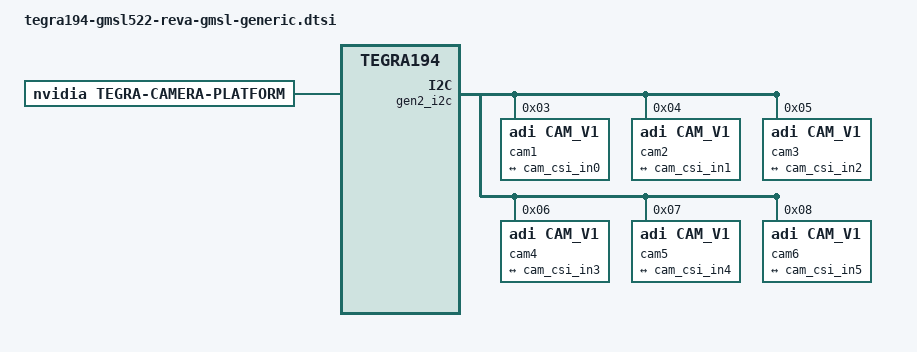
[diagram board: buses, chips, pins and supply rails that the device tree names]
#include <dt-bindings/media/camera.h>

/ {
	tegra-capture-vi  {
		num-channels = <6>;
		ports {
			#address-cells = <1>;
			#size-cells = <0>;
			port@0 {
				reg = <0>;
				cam_vi_in0: endpoint {
					vc-id = <0>;
					port-index = <0>;
					bus-width = <4>;
					remote-endpoint = <&cam_csi_out0>;
				};
			};
			port@1 {
				reg = <1>;
				cam_vi_in1: endpoint {
					vc-id = <0>;
					port-index = <2>;
					bus-width = <4>;
					remote-endpoint = <&cam_csi_out1>;
				};
			};
			port@2 {
				reg = <2>;
				cam_vi_in2: endpoint {
					vc-id = <0>;
					port-index = <4>;
					bus-width = <4>;
					remote-endpoint = <&cam_csi_out2>;
				};
			};
			port@3 {
				reg = <3>;
				cam_vi_in3: endpoint {
					vc-id = <1>;
					port-index = <4>;
					bus-width = <4>;
					remote-endpoint = <&cam_csi_out3>;
				};
			};
			port@4 {
				reg = <4>;
				cam_vi_in4: endpoint {
					vc-id = <2>;
					port-index = <4>;
					bus-width = <4>;
					remote-endpoint = <&cam_csi_out4>;
				};
			};
			port@5 {
				reg = <5>;
				cam_vi_in5: endpoint {
					vc-id = <3>;
					port-index = <4>;
					bus-width = <4>;
					remote-endpoint = <&cam_csi_out5>;
				};
			};
		};
	};

	host1x@13e00000 {
		nvcsi@15a00000 {
			num-channels = <6>;
			#address-cells = <1>;
			#size-cells = <0>;
			channel@0 {
				reg = <0>;
				ports {
					#address-cells = <1>;
					#size-cells = <0>;
					port@0 {
						reg = <0>;
						cam_csi_in0: endpoint@0 {
							port-index = <0>;
							bus-width = <4>;
							remote-endpoint = <&cam_out0>;
						};
					};
					port@1 {
						reg = <1>;
						cam_csi_out0: endpoint@1 {
							remote-endpoint = <&cam_vi_in0>;
						};
					};
				};
			};
			channel@1 {
				reg = <1>;
				ports {
					#address-cells = <1>;
					#size-cells = <0>;
					port@0 {
						reg = <0>;
						cam_csi_in1: endpoint@2 {
							port-index = <2>;
							bus-width = <4>;
							remote-endpoint = <&cam_out1>;
						};
					};
					port@1 {
						reg = <1>;
						cam_csi_out1: endpoint@3 {
							remote-endpoint = <&cam_vi_in1>;
						};
					};
				};
			};
			channel@2 {
				reg = <2>;
				ports {
					#address-cells = <1>;
					#size-cells = <0>;
					port@0 {
						reg = <0>;
						cam_csi_in2: endpoint@4 {
							port-index = <4>;
							bus-width = <4>;
							remote-endpoint = <&cam_out2>;
						};
					};
					port@1 {
						reg = <1>;
						cam_csi_out2: endpoint@5 {
							remote-endpoint = <&cam_vi_in2>;
						};
					};
				};
			};
			channel@3 {
				reg = <3>;
				ports {
					#address-cells = <1>;
					#size-cells = <0>;
					port@0 {
						reg = <0>;
						cam_csi_in3: endpoint@6 {
							port-index = <4>;
							bus-width = <4>;
							remote-endpoint = <&cam_out3>;
						};
					};
					port@1 {
						reg = <1>;
						cam_csi_out3: endpoint@7 {
							remote-endpoint = <&cam_vi_in3>;
						};
					};
				};
			};
			channel@4 {
				reg = <4>;
				ports {
					#address-cells = <1>;
					#size-cells = <0>;
					port@0 {
						reg = <0>;
						cam_csi_in4: endpoint@8 {
							port-index = <4>;
							bus-width = <4>;
							remote-endpoint = <&cam_out4>;
						};
					};
					port@1 {
						reg = <1>;
						cam_csi_out4: endpoint@9 {
							remote-endpoint = <&cam_vi_in4>;
						};
					};
				};
			};
			channel@5 {
				reg = <5>;
				ports {
					#address-cells = <1>;
					#size-cells = <0>;
					port@0 {
						reg = <0>;
						cam_csi_in5: endpoint@10 {
							port-index = <4>;
							bus-width = <4>;
							remote-endpoint = <&cam_out5>;
						};
					};
					port@1 {
						reg = <1>;
						cam_csi_out5: endpoint@11 {
							remote-endpoint = <&cam_vi_in5>;
						};
					};
				};
			};
		};
	};
};

&gen2_i2c {
	cam1: cam1@3 {
		compatible = "adi,cam_v1";
		/* I2C device address */
		reg = <0x3>;

		mode0 {
			num_lanes = "4";
			tegra_sinterface = "serial_e";
			deskew_initial_enable = "false";
			phy_mode = "DPHY";

			active_w = "1920";
			active_h = "1280";
			mode_type = "yuv";
			pixel_phase = "yuyv";
			csi_pixel_bit_depth = "16";
			line_length = "1920";
			pix_clk_hz = "0"; /* Do not update */

			serdes_lane_rate = "1500000000";

			min_framerate = "1000000"; /* 2.0 fps */
			max_framerate = "90000000"; /* 90.0 fps */
			step_framerate = "1";
			default_framerate = "30000000"; /* 30.0 fps */

			embedded_metadata_height = "0";
		};

		ports {
			#address-cells = <1>;
			#size-cells = <0>;

			port@0 {
				reg = <0>;
				cam_out0: endpoint {
					port-index = <0>;
					bus-width = <4>;
					remote-endpoint = <&cam_csi_in0>;
				};
			};
		};
	};
	cam2: cam2@4 {
		compatible = "adi,cam_v1";
		/* I2C device address */
		reg = <0x4>;

		mode0 {
			num_lanes = "4";
			tegra_sinterface = "serial_e";
			deskew_initial_enable = "false";
			phy_mode = "DPHY";

			active_w = "1920";
			active_h = "1280";
			mode_type = "yuv";
			pixel_phase = "yuyv";
			csi_pixel_bit_depth = "16";
			line_length = "1920";
			pix_clk_hz = "0"; /* Do not update */

			serdes_lane_rate = "1500000000";

			min_framerate = "1000000"; /* 2.0 fps */
			max_framerate = "90000000"; /* 90.0 fps */
			step_framerate = "1";
			default_framerate = "30000000"; /* 30.0 fps */

			embedded_metadata_height = "0";
		};

		ports {
			#address-cells = <1>;
			#size-cells = <0>;

			port@0 {
				reg = <0>;
				cam_out1: endpoint {
					port-index = <2>;
					bus-width = <4>;
					remote-endpoint = <&cam_csi_in1>;
				};
			};
		};
	};
	cam3: cam3@5 {
		compatible = "adi,cam_v1";
		/* I2C device address */
		reg = <0x5>;

		mode0 {
			num_lanes = "4";
			tegra_sinterface = "serial_e";
			deskew_initial_enable = "false";
			phy_mode = "DPHY";

			active_w = "1920";
			active_h = "1080";
			mode_type = "yuv";
			pixel_phase = "yuyv";
			csi_pixel_bit_depth = "16";
			line_length = "1920";
			pix_clk_hz = "0"; /* Do not update */

			serdes_lane_rate = "1500000000";

			min_framerate = "1000000"; /* 2.0 fps */
			max_framerate = "90000000"; /* 90.0 fps */
			step_framerate = "1";
			default_framerate = "30000000"; /* 30.0 fps */

			embedded_metadata_height = "0";
		};

		ports {
			#address-cells = <1>;
			#size-cells = <0>;

			port@0 {
				reg = <0>;
				cam_out2: endpoint {
					port-index = <4>;
					bus-width = <4>;
					remote-endpoint = <&cam_csi_in2>;
				};
			};
		};
	};
		cam4: cam4@6 {
		compatible = "adi,cam_v1";
		/* I2C device address */
		reg = <0x6>;

		mode0 {
			num_lanes = "4";
			tegra_sinterface = "serial_e";
			deskew_initial_enable = "false";
			phy_mode = "DPHY";

			active_w = "1920";
			active_h = "1080";
			mode_type = "yuv";
			pixel_phase = "yuyv";
			csi_pixel_bit_depth = "16";
			line_length = "1920";
			pix_clk_hz = "0"; /* Do not update */

			serdes_lane_rate = "1500000000";

			min_framerate = "1000000"; /* 2.0 fps */
			max_framerate = "90000000"; /* 90.0 fps */
			step_framerate = "1";
			default_framerate = "30000000"; /* 30.0 fps */

			embedded_metadata_height = "0";
		};

		ports {
			#address-cells = <1>;
			#size-cells = <0>;

			port@0 {
				reg = <0>;
				cam_out3: endpoint {
					port-index = <4>;
					bus-width = <4>;
					remote-endpoint = <&cam_csi_in3>;
				};
			};
		};
	};
		cam5: cam5@7 {
		compatible = "adi,cam_v1";
		/* I2C device address */
		reg = <0x7>;

		mode0 {
			num_lanes = "4";
			tegra_sinterface = "serial_e";
			deskew_initial_enable = "false";
			phy_mode = "DPHY";

			active_w = "1920";
			active_h = "1080";
			mode_type = "yuv";
			pixel_phase = "yuyv";
			csi_pixel_bit_depth = "16";
			line_length = "1920";
			pix_clk_hz = "0"; /* Do not update */

			serdes_lane_rate = "1500000000";

			min_framerate = "1000000"; /* 2.0 fps */
			max_framerate = "90000000"; /* 90.0 fps */
			step_framerate = "1";
			default_framerate = "30000000"; /* 30.0 fps */

			embedded_metadata_height = "0";
		};

		ports {
			#address-cells = <1>;
			#size-cells = <0>;

			port@0 {
				reg = <0>;
				cam_out4: endpoint {
					port-index = <4>;
					bus-width = <4>;
					remote-endpoint = <&cam_csi_in4>;
				};
			};
		};
	};
		cam6: cam6@8 {
		compatible = "adi,cam_v1";
		/* I2C device address */
		reg = <0x8>;

		mode0 {
			num_lanes = "4";
			tegra_sinterface = "serial_e";
			deskew_initial_enable = "false";
			phy_mode = "DPHY";

			active_w = "1920";
			active_h = "1080";
			mode_type = "yuv";
			pixel_phase = "yuyv";
			csi_pixel_bit_depth = "16";
			line_length = "1920";
			pix_clk_hz = "0"; /* Do not update */

			serdes_lane_rate = "1500000000";

			min_framerate = "1000000"; /* 2.0 fps */
			max_framerate = "90000000"; /* 90.0 fps */
			step_framerate = "1";
			default_framerate = "30000000"; /* 30.0 fps */

			embedded_metadata_height = "0";
		};

		ports {
			#address-cells = <1>;
			#size-cells = <0>;

			port@0 {
				reg = <0>;
				cam_out5: endpoint {
					port-index = <4>;
					bus-width = <4>;
					remote-endpoint = <&cam_csi_in5>;
				};
			};
		};
	};
};

/ {
	tegra-camera-platform {
		compatible = "nvidia, tegra-camera-platform";

		num_csi_lanes = <12>;
		max_lane_speed = <1500000>;
		min_bits_per_pixel = <8>;
		vi_peak_byte_per_pixel = <2>;
		vi_bw_margin_pct = <25>;
		max_pixel_rate = <7500000>;
		isp_peak_byte_per_pixel = <5>;
		isp_bw_margin_pct = <25>;

		/**
		 * The general guideline for naming badge_info contains 3 parts, and is as follows,
		 * The first part is the camera_board_id for the module; if the module is in a FFD
		 * platform, then use the platform name for this part.
		 * The second part contains the position of the module, ex. "rear" or "front".
		 * The third part contains the last 6 characters of a part number which is found
		 * in the module's specsheet from the vendor.
		 */
		modules {
			module0 {
				badge = "cam_bottom";
				position = "bottom";
				orientation = "1";
				drivernode0 {
					pcl_id = "v4l2_sensor";
					devname = "cam_v1 1-0003";
					proc-device-tree = "/proc/device-tree/i2c@c240000/cam1@3";
				};
			};
			module1 {
				badge = "cam_top";
				position = "top";
				orientation = "1";
				drivernode0 {
					pcl_id = "v4l2_sensor";
					devname = "cam_v1 1-0004";
					proc-device-tree = "/proc/device-tree/i2c@c240000/cam2@4";
				};
			};
			module2 {
				badge = "cam_center";
				position = "center";
				orientation = "1";
				drivernode0 {
					pcl_id = "v4l2_sensor";
					devname = "cam_v1 1-0005";
					proc-device-tree = "/proc/device-tree/i2c@c240000/cam3@5";
				};
			};
			module3 {
				badge = "cam_centerright";
				position = "centerright";
				orientation = "1";
				drivernode0 {
					pcl_id = "v4l2_sensor";
					devname = "cam_v1 1-0006";
					proc-device-tree = "/proc/device-tree/i2c@c240000/cam4@6";
				};
			};
			module4 {
				badge = "cam_centerleft";
				position = "centerleft";
				orientation = "1";
				drivernode0 {
					pcl_id = "v4l2_sensor";
					devname = "cam_v1 1-0007";
					proc-device-tree = "/proc/device-tree/i2c@c240000/cam5@7";
				};
			};
			module5 {
				badge = "cam_bottomleft";
				position = "bottomleft";
				orientation = "1";
				drivernode0 {
					pcl_id = "v4l2_sensor";
					devname = "cam_v1 1-0008";
					proc-device-tree = "/proc/device-tree/i2c@c240000/cam6@8";
				};
			};
		};
	};
};
